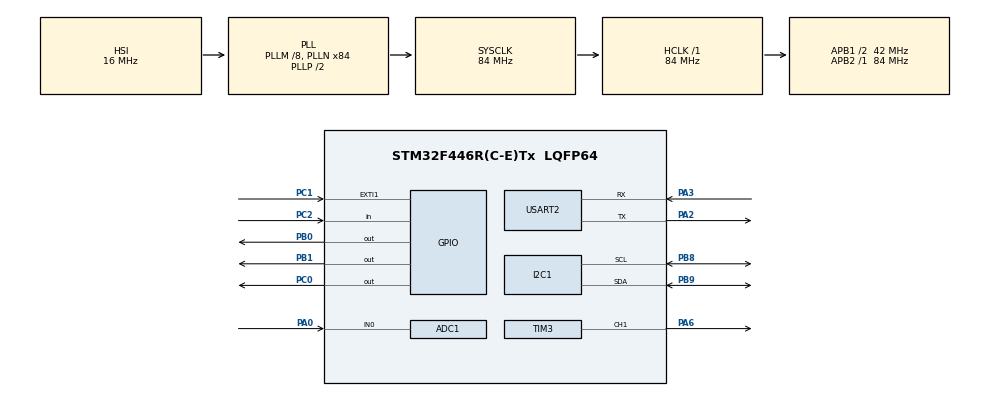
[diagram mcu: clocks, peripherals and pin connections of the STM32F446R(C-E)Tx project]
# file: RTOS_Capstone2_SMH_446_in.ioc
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ADC1.Channel-0\#ChannelRegularConversion=ADC_CHANNEL_0
ADC1.NbrOfConversionFlag=1
ADC1.Rank-0\#ChannelRegularConversion=1
ADC1.SamplingTime-0\#ChannelRegularConversion=ADC_SAMPLETIME_3CYCLES
ADC1.master=1
FREERTOS.Tasks01=MotorControlTas,24,256,StartMotorControlTask,Default,NULL,Dynamic,NULL,NULL;PowerMonitrorTa,24,256,StartPowerMonitrorTask,Default,NULL,Dynamic,NULL,NULL;TemperatureTask,16,256,StartTemperatureTask,Default,NULL,Dynamic,NULL,NULL;SafetySuperViso,32,256,StartSafetySupervisorTask,Default,NULL,Dynamic,NULL,NULL;DisplayTask,8,512,StartDisplayTask,Default,NULL,Dynamic,NULL,NULL;LoggingTask,8,256,StartLoggingTask,Default,NULL,Dynamic,NULL,NULL
FREERTOS.configUSE_NEWLIB_REENTRANT=1
Mcu.Family=STM32F4
Mcu.Name=STM32F446R(C-E)Tx
Mcu.Package=LQFP64
NVIC.EXTI1_IRQn=true\:5\:0\:false\:false\:true\:true\:true\:true\:true
NVIC.PriorityGroup=NVIC_PRIORITYGROUP_4
NVIC.TIM1_UP_TIM10_IRQn=true\:15\:0\:false\:false\:true\:false\:false\:true\:true
NVIC.TimeBase=TIM1_UP_TIM10_IRQn
NVIC.TimeBaseIP=TIM10
PA0-WKUP.Signal=ADCx_IN0
PA13.Mode=Serial_Wire
PA13.Signal=SYS_JTMS-SWDIO
PA14.Mode=Serial_Wire
PA14.Signal=SYS_JTCK-SWCLK
PA2.Mode=Asynchronous
PA2.Signal=USART2_TX
PA3.Mode=Asynchronous
PA3.Signal=USART2_RX
PA6.Signal=S_TIM3_CH1
PB0.Signal=GPIO_Output
PB1.Signal=GPIO_Output
PB8.Mode=I2C
PB8.Signal=I2C1_SCL
PB9.Mode=I2C
PB9.Signal=I2C1_SDA
PC0.Signal=GPIO_Output
PC1.GPIO_ModeDefaultEXTI=GPIO_MODE_IT_FALLING
PC1.GPIO_PuPd=GPIO_PULLUP
PC1.Signal=GPXTI1
PC2.GPIO_PuPd=GPIO_PULLDOWN
PC2.Signal=GPIO_Input
ProjectManager.HeapSize=0x200
ProjectManager.StackSize=0x400
ProjectManager.TargetToolchain=STM32CubeIDE
RCC.AHBFreq_Value=84000000
RCC.APB1CLKDivider=RCC_HCLK_DIV2
RCC.APB1Freq_Value=42000000
RCC.APB1TimFreq_Value=84000000
RCC.APB2Freq_Value=84000000
RCC.APB2TimFreq_Value=84000000
RCC.CortexFreq_Value=84000000
RCC.HCLKFreq_Value=84000000
RCC.PLLM=8
RCC.PLLN=84
RCC.SYSCLKFreq_VALUE=84000000
RCC.SYSCLKSource=RCC_SYSCLKSOURCE_PLLCLK
RCC.USBFreq_Value=84000000
RCC.VCOOutputFreq_Value=168000000
SH.ADCx_IN0.0=ADC1_IN0,IN0
SH.S_TIM3_CH1.0=TIM3_CH1,PWM Generation1 CH1
TIM3.Channel-PWM\ Generation1\ CH1=TIM_CHANNEL_1
TIM3.Period=100
TIM3.Prescaler=84
USART2.VirtualMode=VM_ASYNC
VP_FREERTOS_VS_CMSIS_V2.Mode=CMSIS_V2
VP_SYS_VS_tim10.Mode=TIM10
VP_TIM3_VS_ClockSourceINT.Mode=Internal
board=custom

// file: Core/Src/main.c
/* USER CODE BEGIN Header */
/**
  ******************************************************************************
  * @file           : main.c
  * @brief          : Main program body
  ******************************************************************************
  * @attention
  *
  * Copyright (c) 2026 STMicroelectronics.
  * All rights reserved.
  *
  * This software is licensed under terms that can be found in the LICENSE file
  * in the root directory of this software component.
  * If no LICENSE file comes with this software, it is provided AS-IS.
  *
  ******************************************************************************
  */
/* USER CODE END Header */
#include "main.h"
#include "cmsis_os.h"

/* USER CODE BEGIN Includes */
#include <stdio.h>
#include <string.h>

#include "ssd1306.h"
#include "fonts.h"
#include <math.h>
/* USER CODE END Includes */

ADC_HandleTypeDef hadc1;

I2C_HandleTypeDef hi2c1;

TIM_HandleTypeDef htim3;

UART_HandleTypeDef huart2;

/* Definitions for MotorControlTas */
osThreadId_t MotorControlTasHandle;
const osThreadAttr_t MotorControlTas_attributes = {
  .name = "MotorControlTas",
  .stack_size = 256 * 4,
  .priority = (osPriority_t) osPriorityNormal,
};
/* Definitions for PowerMonitrorTa */
osThreadId_t PowerMonitrorTaHandle;
const osThreadAttr_t PowerMonitrorTa_attributes = {
  .name = "PowerMonitrorTa",
  .stack_size = 256 * 4,
  .priority = (osPriority_t) osPriorityNormal,
};
/* Definitions for TemperatureTask */
osThreadId_t TemperatureTaskHandle;
const osThreadAttr_t TemperatureTask_attributes = {
  .name = "TemperatureTask",
  .stack_size = 256 * 4,
  .priority = (osPriority_t) osPriorityBelowNormal,
};
/* Definitions for SafetySuperViso */
osThreadId_t SafetySuperVisoHandle;
const osThreadAttr_t SafetySuperViso_attributes = {
  .name = "SafetySuperViso",
  .stack_size = 256 * 4,
  .priority = (osPriority_t) osPriorityAboveNormal,
};
/* Definitions for DisplayTask */
osThreadId_t DisplayTaskHandle;
const osThreadAttr_t DisplayTask_attributes = {
  .name = "DisplayTask",
  .stack_size = 512 * 4,
  .priority = (osPriority_t) osPriorityLow,
};
/* Definitions for LoggingTask */
osThreadId_t LoggingTaskHandle;
const osThreadAttr_t LoggingTask_attributes = {
  .name = "LoggingTask",
  .stack_size = 256 * 4,
  .priority = (osPriority_t) osPriorityLow,
};
/* USER CODE BEGIN PV */

float motor_current = 0;
float motor_voltage = 0;
float temperature = 0;

#define SERIES_RESISTOR 10000.0
#define NOMINAL_RESISTANCE 10000.0
#define NOMINAL_TEMPERATURE 25.0
#define BETA_COEFFICIENT 3950.0
#define ADC_SAMPLES 15

uint8_t motor_state = 1;
uint8_t safety_status = 0;

volatile uint8_t object_detected = 0;

/* USER CODE END PV */

void SystemClock_Config(void);
static void MX_GPIO_Init(void);
static void MX_ADC1_Init(void);
static void MX_I2C1_Init(void);
static void MX_TIM3_Init(void);
static void MX_USART2_UART_Init(void);
void StartMotorControlTask(void *argument);
void StartPowerMonitrorTask(void *argument);
void StartTemperatureTask(void *argument);
void StartSafetySupervisorTask(void *argument);
void StartDisplayTask(void *argument);
void StartLoggingTask(void *argument);

/* USER CODE BEGIN 0 */
void INA219_Init(){
uint8_t config[2];

// 1. Configuration register
    config[0] = 0x39;
    config[1] = 0x9F;

    HAL_I2C_Mem_Write(&hi2c1,0x40<<1,0x00,I2C_MEMADD_SIZE_8BIT,config,2,100);

    // 2. Calibration register
        uint8_t cal[2];

        cal[0] = 0x10;
        cal[1] = 0x00;   // 0x1000 = basic calibration

        HAL_I2C_Mem_Write(&hi2c1,0x40<<1,0x05,I2C_MEMADD_SIZE_8BIT,cal,2,100);

}

/* USER CODE END 0 */

int main(void)
{

  /* MCU Configuration--------------------------------------------------------*/

  /* Reset of all peripherals, Initializes the Flash interface and the Systick. */
  HAL_Init();

  /* Configure the system clock */
  SystemClock_Config();

  /* Initialize all configured peripherals */
  MX_GPIO_Init();
  MX_ADC1_Init();
  MX_I2C1_Init();
  MX_TIM3_Init();
  MX_USART2_UART_Init();
  /* USER CODE BEGIN 2 */

  INA219_Init();

  HAL_TIM_PWM_Start(&htim3, TIM_CHANNEL_1);

  ssd1306_Init();
  ssd1306_Fill(Black);
  ssd1306_UpdateScreen();

  /* USER CODE END 2 */

  /* Init scheduler */
  osKernelInitialize();

  /* Create the thread(s) */
  /* creation of MotorControlTas */
  MotorControlTasHandle = osThreadNew(StartMotorControlTask, NULL, &MotorControlTas_attributes);

  /* creation of PowerMonitrorTa */
  PowerMonitrorTaHandle = osThreadNew(StartPowerMonitrorTask, NULL, &PowerMonitrorTa_attributes);

  /* creation of TemperatureTask */
  TemperatureTaskHandle = osThreadNew(StartTemperatureTask, NULL, &TemperatureTask_attributes);

  /* creation of SafetySuperViso */
  SafetySuperVisoHandle = osThreadNew(StartSafetySupervisorTask, NULL, &SafetySuperViso_attributes);

  /* creation of DisplayTask */
  DisplayTaskHandle = osThreadNew(StartDisplayTask, NULL, &DisplayTask_attributes);

  /* creation of LoggingTask */
  LoggingTaskHandle = osThreadNew(StartLoggingTask, NULL, &LoggingTask_attributes);

  /* Start scheduler */
  osKernelStart();

  /* We should never get here as control is now taken by the scheduler */

  /* Infinite loop */
  while (1)
  {

  }
}

void SystemClock_Config(void)
{
  RCC_OscInitTypeDef RCC_OscInitStruct = {0};
  RCC_ClkInitTypeDef RCC_ClkInitStruct = {0};

  /** Configure the main internal regulator output voltage
  */
  __HAL_RCC_PWR_CLK_ENABLE();
  __HAL_PWR_VOLTAGESCALING_CONFIG(PWR_REGULATOR_VOLTAGE_SCALE3);

  /** Initializes the RCC Oscillators according to the specified parameters
  * in the RCC_OscInitTypeDef structure.
  */
  RCC_OscInitStruct.OscillatorType = RCC_OSCILLATORTYPE_HSI;
  RCC_OscInitStruct.HSIState = RCC_HSI_ON;
  RCC_OscInitStruct.HSICalibrationValue = RCC_HSICALIBRATION_DEFAULT;
  RCC_OscInitStruct.PLL.PLLState = RCC_PLL_ON;
  RCC_OscInitStruct.PLL.PLLSource = RCC_PLLSOURCE_HSI;
  RCC_OscInitStruct.PLL.PLLM = 8;
  RCC_OscInitStruct.PLL.PLLN = 84;
  RCC_OscInitStruct.PLL.PLLP = RCC_PLLP_DIV2;
  RCC_OscInitStruct.PLL.PLLQ = 2;
  RCC_OscInitStruct.PLL.PLLR = 2;
  if (HAL_RCC_OscConfig(&RCC_OscInitStruct) != HAL_OK)
  {
    Error_Handler();
  }

  /** Initializes the CPU, AHB and APB buses clocks
  */
  RCC_ClkInitStruct.ClockType = RCC_CLOCKTYPE_HCLK|RCC_CLOCKTYPE_SYSCLK
                              |RCC_CLOCKTYPE_PCLK1|RCC_CLOCKTYPE_PCLK2;
  RCC_ClkInitStruct.SYSCLKSource = RCC_SYSCLKSOURCE_PLLCLK;
  RCC_ClkInitStruct.AHBCLKDivider = RCC_SYSCLK_DIV1;
  RCC_ClkInitStruct.APB1CLKDivider = RCC_HCLK_DIV2;
  RCC_ClkInitStruct.APB2CLKDivider = RCC_HCLK_DIV1;

  if (HAL_RCC_ClockConfig(&RCC_ClkInitStruct, FLASH_LATENCY_2) != HAL_OK)
  {
    Error_Handler();
  }
}

static void MX_ADC1_Init(void)
{

  ADC_ChannelConfTypeDef sConfig = {0};

  /** Configure the global features of the ADC (Clock, Resolution, Data Alignment and number of conversion)
  */
  hadc1.Instance = ADC1;
  hadc1.Init.ClockPrescaler = ADC_CLOCK_SYNC_PCLK_DIV4;
  hadc1.Init.Resolution = ADC_RESOLUTION_12B;
  hadc1.Init.ScanConvMode = DISABLE;
  hadc1.Init.ContinuousConvMode = DISABLE;
  hadc1.Init.DiscontinuousConvMode = DISABLE;
  hadc1.Init.ExternalTrigConvEdge = ADC_EXTERNALTRIGCONVEDGE_NONE;
  hadc1.Init.ExternalTrigConv = ADC_SOFTWARE_START;
  hadc1.Init.DataAlign = ADC_DATAALIGN_RIGHT;
  hadc1.Init.NbrOfConversion = 1;
  hadc1.Init.DMAContinuousRequests = DISABLE;
  hadc1.Init.EOCSelection = ADC_EOC_SINGLE_CONV;
  if (HAL_ADC_Init(&hadc1) != HAL_OK)
  {
    Error_Handler();
  }

  /** Configure for the selected ADC regular channel its corresponding rank in the sequencer and its sample time.
  */
  sConfig.Channel = ADC_CHANNEL_0;
  sConfig.Rank = 1;
  sConfig.SamplingTime = ADC_SAMPLETIME_3CYCLES;
  if (HAL_ADC_ConfigChannel(&hadc1, &sConfig) != HAL_OK)
  {
    Error_Handler();
  }

}

static void MX_I2C1_Init(void)
{

  hi2c1.Instance = I2C1;
  hi2c1.Init.ClockSpeed = 100000;
  hi2c1.Init.DutyCycle = I2C_DUTYCYCLE_2;
  hi2c1.Init.OwnAddress1 = 0;
  hi2c1.Init.AddressingMode = I2C_ADDRESSINGMODE_7BIT;
  hi2c1.Init.DualAddressMode = I2C_DUALADDRESS_DISABLE;
  hi2c1.Init.OwnAddress2 = 0;
  hi2c1.Init.GeneralCallMode = I2C_GENERALCALL_DISABLE;
  hi2c1.Init.NoStretchMode = I2C_NOSTRETCH_DISABLE;
  if (HAL_I2C_Init(&hi2c1) != HAL_OK)
  {
    Error_Handler();
  }

}

static void MX_TIM3_Init(void)
{

  TIM_ClockConfigTypeDef sClockSourceConfig = {0};
  TIM_MasterConfigTypeDef sMasterConfig = {0};
  TIM_OC_InitTypeDef sConfigOC = {0};

  htim3.Instance = TIM3;
  htim3.Init.Prescaler = 84;
  htim3.Init.CounterMode = TIM_COUNTERMODE_UP;
  htim3.Init.Period = 100;
  htim3.Init.ClockDivision = TIM_CLOCKDIVISION_DIV1;
  htim3.Init.AutoReloadPreload = TIM_AUTORELOAD_PRELOAD_DISABLE;
  if (HAL_TIM_Base_Init(&htim3) != HAL_OK)
  {
    Error_Handler();
  }
  sClockSourceConfig.ClockSource = TIM_CLOCKSOURCE_INTERNAL;
  if (HAL_TIM_ConfigClockSource(&htim3, &sClockSourceConfig) != HAL_OK)
  {
    Error_Handler();
  }
  if (HAL_TIM_PWM_Init(&htim3) != HAL_OK)
  {
    Error_Handler();
  }
  sMasterConfig.MasterOutputTrigger = TIM_TRGO_RESET;
  sMasterConfig.MasterSlaveMode = TIM_MASTERSLAVEMODE_DISABLE;
  if (HAL_TIMEx_MasterConfigSynchronization(&htim3, &sMasterConfig) != HAL_OK)
  {
    Error_Handler();
  }
  sConfigOC.OCMode = TIM_OCMODE_PWM1;
  sConfigOC.Pulse = 0;
  sConfigOC.OCPolarity = TIM_OCPOLARITY_HIGH;
  sConfigOC.OCFastMode = TIM_OCFAST_DISABLE;
  if (HAL_TIM_PWM_ConfigChannel(&htim3, &sConfigOC, TIM_CHANNEL_1) != HAL_OK)
  {
    Error_Handler();
  }
  HAL_TIM_MspPostInit(&htim3);

}

static void MX_USART2_UART_Init(void)
{

  huart2.Instance = USART2;
  huart2.Init.BaudRate = 115200;
  huart2.Init.WordLength = UART_WORDLENGTH_8B;
  huart2.Init.StopBits = UART_STOPBITS_1;
  huart2.Init.Parity = UART_PARITY_NONE;
  huart2.Init.Mode = UART_MODE_TX_RX;
  huart2.Init.HwFlowCtl = UART_HWCONTROL_NONE;
  huart2.Init.OverSampling = UART_OVERSAMPLING_16;
  if (HAL_UART_Init(&huart2) != HAL_OK)
  {
    Error_Handler();
  }

}

static void MX_GPIO_Init(void)
{
  GPIO_InitTypeDef GPIO_InitStruct = {0};

  /* GPIO Ports Clock Enable */
  __HAL_RCC_GPIOC_CLK_ENABLE();
  __HAL_RCC_GPIOA_CLK_ENABLE();
  __HAL_RCC_GPIOB_CLK_ENABLE();

  /*Configure GPIO pin Output Level */
  HAL_GPIO_WritePin(GPIOC, GPIO_PIN_0, GPIO_PIN_RESET);

  /*Configure GPIO pin Output Level */
  HAL_GPIO_WritePin(GPIOB, GPIO_PIN_0|GPIO_PIN_1, GPIO_PIN_RESET);

  /*Configure GPIO pin : PC0 */
  GPIO_InitStruct.Pin = GPIO_PIN_0;
  GPIO_InitStruct.Mode = GPIO_MODE_OUTPUT_PP;
  GPIO_InitStruct.Pull = GPIO_NOPULL;
  GPIO_InitStruct.Speed = GPIO_SPEED_FREQ_LOW;
  HAL_GPIO_Init(GPIOC, &GPIO_InitStruct);

  /*Configure GPIO pin : PC1 */
  GPIO_InitStruct.Pin = GPIO_PIN_1;
  GPIO_InitStruct.Mode = GPIO_MODE_IT_FALLING;
  GPIO_InitStruct.Pull = GPIO_PULLUP;
  HAL_GPIO_Init(GPIOC, &GPIO_InitStruct);

  /*Configure GPIO pin : PC2 */
  GPIO_InitStruct.Pin = GPIO_PIN_2;
  GPIO_InitStruct.Mode = GPIO_MODE_INPUT;
  GPIO_InitStruct.Pull = GPIO_PULLDOWN;
  HAL_GPIO_Init(GPIOC, &GPIO_InitStruct);

  /*Configure GPIO pins : PB0 PB1 */
  GPIO_InitStruct.Pin = GPIO_PIN_0|GPIO_PIN_1;
  GPIO_InitStruct.Mode = GPIO_MODE_OUTPUT_PP;
  GPIO_InitStruct.Pull = GPIO_NOPULL;
  GPIO_InitStruct.Speed = GPIO_SPEED_FREQ_LOW;
  HAL_GPIO_Init(GPIOB, &GPIO_InitStruct);

  /* EXTI interrupt init*/
  HAL_NVIC_SetPriority(EXTI1_IRQn, 5, 0);
  HAL_NVIC_EnableIRQ(EXTI1_IRQn);

}

/* USER CODE BEGIN 4 */

void Motor_SetSpeed(uint8_t duty)
{
    uint16_t pwm = duty;
    __HAL_TIM_SET_COMPARE(&htim3, TIM_CHANNEL_1, pwm);

    HAL_GPIO_WritePin(GPIOB, GPIO_PIN_0, GPIO_PIN_SET);
    HAL_GPIO_WritePin(GPIOB, GPIO_PIN_1, GPIO_PIN_RESET);
}

void Motor_Stop(void)
{
    __HAL_TIM_SET_COMPARE(&htim3, TIM_CHANNEL_1, 0);

    HAL_GPIO_WritePin(GPIOB, GPIO_PIN_0, GPIO_PIN_RESET);
    HAL_GPIO_WritePin(GPIOB, GPIO_PIN_1, GPIO_PIN_RESET);
}

/* USER CODE END 4 */

void StartMotorControlTask(void *argument)
{
  /* USER CODE BEGIN 5 */
  /* Infinite loop */
  for(;;)
  {
	  if(motor_state)
	  	     {
	  	         Motor_SetSpeed(50);
	  	     }
	  	     else
	  	     {
	  	         Motor_Stop();
	  	     }

	  	     osDelay(100);
  }
  /* USER CODE END 5 */
}

void StartPowerMonitrorTask(void *argument)
{
  /* USER CODE BEGIN StartPowerMonitrorTask */
  /* Infinite loop */
	static float filtered_current = 0;
  for(;;)
  {

	  uint8_t data[2];

	  	  HAL_I2C_Mem_Read(&hi2c1, 0x40<<1, 0x04, 1, data, 2, 100);//read current register

	  	  int16_t raw = (data[0] << 8) | data[1];

	  	  float current = fabs(raw * 0.0001);

	  	  filtered_current = 0.7 * filtered_current + 0.3 * current;

	  	  motor_current = filtered_current;

	  	 osDelay(200);
  }
  /* USER CODE END StartPowerMonitrorTask */
}

void StartTemperatureTask(void *argument)
{
  /* USER CODE BEGIN StartTemperatureTask */
  /* Infinite loop */
  for(;;)
  {

	  uint32_t adc_sum = 0;

	  	  for(int i=0;i<ADC_SAMPLES;i++)
	  	        {
	  	            HAL_ADC_Start(&hadc1);
	  	            HAL_ADC_PollForConversion(&hadc1,10);

	  	            adc_sum += HAL_ADC_GetValue(&hadc1);

	  	            osDelay(5);
	  	        }

	  	        float adc_avg = adc_sum / ADC_SAMPLES;

	  	        float voltage = (adc_avg * 3.3f) / 4095.0f;

	  	        // Correct resistance calculation
	  	        float resistance = SERIES_RESISTOR * (voltage / (3.3f - voltage));

	  	        float steinhart;

	  	        steinhart = resistance / NOMINAL_RESISTANCE;
	  	        steinhart = log(steinhart);
	  	        steinhart /= BETA_COEFFICIENT;
	  	        steinhart += 1.0 / (NOMINAL_TEMPERATURE + 273.15);
	  	        steinhart = 1.0 / steinhart;
	  	        steinhart -= 273.15;

	  	        temperature = steinhart;

	  	     osDelay(500);
  }
  /* USER CODE END StartTemperatureTask */
}

void StartSafetySupervisorTask(void *argument)
{
  /* USER CODE BEGIN StartSafetySupervisorTask */
  /* Infinite loop */
  for(;;)
  {

	  uint8_t fault = 0;

	      HAL_GPIO_WritePin(GPIOC, GPIO_PIN_0, GPIO_PIN_RESET);

	      // Overcurrent
	      if(motor_current > 1.0)
	      {
	          fault = 1;
	          safety_status = 1;
	      }

	      // Overtemperature
	      else if(temperature > 33)
	      {
	          fault = 1;
	          safety_status = 2;
	      }

	      // Flame
	      else if(HAL_GPIO_ReadPin(GPIOC, GPIO_PIN_2) == GPIO_PIN_RESET)
	      {
	          fault = 1;
	          safety_status = 3;
	      }

	      //  IR (Interrupt-based)

	            else if(object_detected || HAL_GPIO_ReadPin(GPIOC, GPIO_PIN_1) == GPIO_PIN_RESET)
	            {
	                fault = 1;
	                safety_status = 4;

	                object_detected = 0;  // Reset flag
	            }

	      // IR (Interrupt-based only)
	 /*     else if(object_detected)
	      {
	          fault = 1;
	          safety_status = 4;
	      }
	      // Reset when object removed
	      if(HAL_GPIO_ReadPin(GPIOC, GPIO_PIN_1) == GPIO_PIN_SET)
	      {
	          object_detected = 0;
	      }   */

	      //  FINAL DECISION
	      if(fault)
	      {
	          motor_state = 0;
	          HAL_GPIO_WritePin(GPIOC, GPIO_PIN_0, GPIO_PIN_SET);
	      }
	      else
	      {
	          motor_state = 1;
	          safety_status = 0;
	      }

	  	      osDelay(100);
  }
  /* USER CODE END StartSafetySupervisorTask */
}

void StartDisplayTask(void *argument)
{
  /* USER CODE BEGIN StartDisplayTask */
  /* Infinite loop */

	char line[30];
		char status[20];
		  char motor_str[10];
  for(;;)
  {

	  ssd1306_Fill(Black);

	                //Temperature
	  	          sprintf(line,"Temp: %.2fC",temperature);
	  	          ssd1306_SetCursor(0,0);
	  	          ssd1306_WriteString(line, Font_7x10, white);

	                //current
	  	          float current_mA = motor_current * 1000.0f;
	  	          sprintf(line,"Current: %.2fmA",current_mA);
	  	          ssd1306_SetCursor(0,16);
	  	          ssd1306_WriteString(line, Font_7x10, white);

	  	          // Motor State
	  	                if(motor_state)
	  	                    strcpy(motor_str,"ON");
	  	                else
	  	                    strcpy(motor_str,"OFF");

	  	                sprintf(line,"Motor: %s",motor_str);
	  	                      ssd1306_SetCursor(0,24);
	  	                      ssd1306_WriteString(line, Font_7x10, white);

	  	                      // Safety Status
	  	                            switch(safety_status)
	  	                            {
	  	                                case 0: strcpy(status,"NORMAL"); break;
	  	                               case 1: strcpy(status,"OVERCURR"); break;
	  	                                case 2: strcpy(status,"OVERTEMP"); break;
	  	                                case 3: strcpy(status,"FIRE"); break;
	  	                               case 4: strcpy(status,"OBJECT"); break;
	  	                                default: strcpy(status,"UNKNOWN"); break;
	  	                            }

	  	                            sprintf(line,"Status: %s",status);
	  	                            ssd1306_SetCursor(0,36);
	  	                            ssd1306_WriteString(line, Font_7x10, white);

	  	          ssd1306_UpdateScreen();

	  	          osDelay(500);
  }
  /* USER CODE END StartDisplayTask */
}

void StartLoggingTask(void *argument)
{
  /* USER CODE BEGIN StartLoggingTask */
  /* Infinite loop */
	char msg[100];
  for(;;)
  {

	  float current_mA = motor_current * 1000.0f;

	  	  sprintf(msg,"Temp %.2f C  Current %.2f mA  Motor %d\r\n",
	  	          temperature,current_mA,motor_state);

	/*  	sprintf(msg,"Temp %.2f C  Current %.2f mA  Motor %d  Status %d\r\n",
	  	        temperature,current_mA,motor_state,safety_status); */

	 	  HAL_UART_Transmit(&huart2,(uint8_t*)msg,strlen(msg),100);

	/*  	if(huart2.gState == HAL_UART_STATE_READY)
	  	{
	  	    HAL_UART_Transmit_DMA(&huart2,(uint8_t*)msg,strlen(msg));
	  	}  */

	  	      osDelay(1000);
  }
  /* USER CODE END StartLoggingTask */
}

void HAL_TIM_PeriodElapsedCallback(TIM_HandleTypeDef *htim)
{
  if (htim->Instance == TIM10)
  {
    HAL_IncTick();
  }
}

void HAL_GPIO_EXTI_Callback(uint16_t GPIO_Pin)
{
    if(GPIO_Pin == GPIO_PIN_1)
    {
        object_detected = 1;
    }

}
void Error_Handler(void)
{
  __disable_irq();
  while (1)
  {
  }
}
